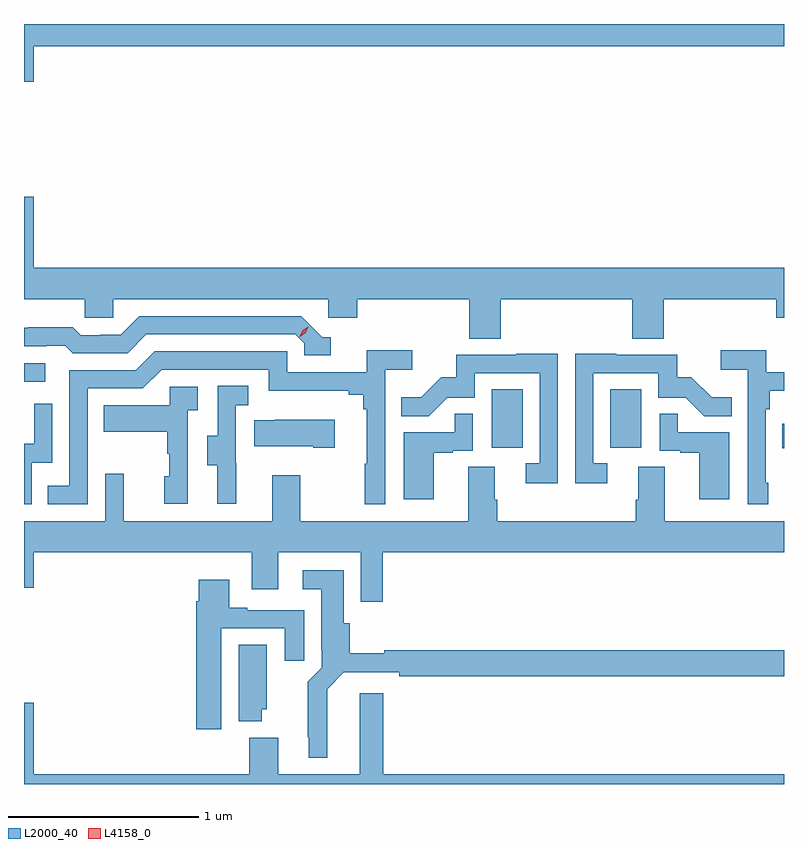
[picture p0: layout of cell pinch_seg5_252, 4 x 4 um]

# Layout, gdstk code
import gdstk
lib = gdstk.Library(unit=1e-6, precision=1e-09)
def R(c, l, rs):  # rectangles x0, y0, x1, y1
    for r in rs: c.add(gdstk.rectangle(r[:2], r[2:], *l))
def P(c, l, *ps):  # polygons
    for p in ps: c.add(gdstk.Polygon(p, *l))
L2000_40 = (2000, 40)
L4158_0 = (4158, 0)

pinch_seg5_252 = lib.new_cell('pinch_seg5_252')
R(pinch_seg5_252, L2000_40, [(936.343,902.596,936.353,902.725), (934.814,902.598,934.978,902.905), (935.438,902.598,935.602,902.905), (932.353,902.946,932.464,903.042)])
P(pinch_seg5_252, L2000_40, [(932.404,904.712),(936.353,904.712),(936.353,904.828),(932.353,904.828),(932.353,904.524),(932.404,904.524)],
  [(934.862,903.38),(935.555,903.38),(935.555,903.172),(935.72,903.172),(935.72,903.38),(936.311,903.38),(936.311,903.282),(936.353,903.282),(936.353,903.544),(932.404,903.544),(932.404,903.919),(932.353,903.919),(932.353,903.38),(932.673,903.38),(932.673,903.282),(932.823,903.282),(932.823,903.38),(933.954,903.38),(933.954,903.282),(934.106,903.282),(934.106,903.38),(934.697,903.38),(934.697,903.172),(934.862,903.172)],
  [(933.967,903.18),(933.924,903.18),(933.813,903.291),(932.96,903.291),(932.861,903.192),(932.754,903.192),(932.754,903.189),(932.651,903.189),(932.609,903.232),(932.376,903.232),(932.376,903.229),(932.353,903.229),(932.353,903.132),(932.471,903.132),(932.471,903.135),(932.57,903.135),(932.609,903.096),(932.898,903.096),(932.997,903.195),(933.78,903.195),(933.828,903.147),(933.828,903.084),(933.967,903.084)],
  [(932.688,902.91),(932.979,902.91),(933.078,903.009),(933.642,903.009),(933.642,902.897),(934.061,902.897),(934.061,902.878),(934.138,902.878),(934.138,902.801),(934.157,902.801),(934.157,902.513),(934.146,902.513),(934.146,902.301),(934.254,902.301),(934.254,903.008),(934.396,903.008),(934.396,903.11),(934.157,903.11),(934.157,902.994),(933.738,902.994),(933.738,903.105),(933.041,903.105),(932.942,903.006),(932.592,903.006),(932.592,902.397),(932.479,902.397),(932.479,902.301),(932.688,902.301)],
  [(936.271,902.413),(936.258,902.413),(936.258,902.801),(936.278,902.801),(936.278,902.897),(936.353,902.897),(936.353,902.994),(936.26,902.994),(936.26,903.11),(936.021,903.11),(936.021,903.008),(936.162,903.008),(936.162,902.301),(936.271,902.301)],
  [(935.422,902.517),(935.349,902.517),(935.349,902.991),(935.691,902.991),(935.691,902.862),(935.835,902.862),(935.933,902.764),(936.077,902.764),(936.077,902.863),(935.973,902.863),(935.866,902.97),(935.79,902.97),(935.79,903.087),(935.471,903.087),(935.471,903.092),(935.253,903.092),(935.253,902.412),(935.422,902.412)],
  [(935.163,903.092),(934.945,903.092),(934.945,903.087),(934.627,903.087),(934.627,902.97),(934.55,902.97),(934.443,902.863),(934.339,902.863),(934.339,902.764),(934.483,902.764),(934.581,902.862),(934.725,902.862),(934.725,902.991),(935.067,902.991),(935.067,902.517),(934.995,902.517),(934.995,902.412),(935.163,902.412)],
  [(933.47,902.517),(933.468,902.517),(933.468,902.821),(933.532,902.821),(933.532,902.924),(933.372,902.924),(933.372,902.661),(933.317,902.661),(933.317,902.506),(933.371,902.506),(933.371,902.304),(933.47,902.304)],
  [(933.216,902.795),(933.268,902.795),(933.268,902.919),(933.12,902.919),(933.12,902.821),(932.773,902.821),(932.773,902.681),(933.108,902.681),(933.108,902.567),(933.118,902.567),(933.118,902.448),(933.092,902.448),(933.092,902.304),(933.216,902.304)],
  [(932.394,902.52),(932.502,902.52),(932.502,902.83),(932.406,902.83),(932.406,902.618),(932.353,902.618),(932.353,902.301),(932.394,902.301)],
  [(934.51,902.571),(934.61,902.571),(934.61,902.583),(934.716,902.583),(934.716,902.777),(934.621,902.777),(934.621,902.679),(934.352,902.679),(934.352,902.328),(934.51,902.328)],
  [(936.064,902.679),(935.795,902.679),(935.795,902.777),(935.7,902.777),(935.7,902.583),(935.807,902.583),(935.807,902.571),(935.906,902.571),(935.906,902.328),(936.064,902.328)],
  [(933.988,902.746),(933.673,902.746),(933.673,902.743),(933.565,902.743),(933.565,902.606),(933.875,902.606),(933.875,902.599),(933.988,902.599)],
  [(934.241,902.048),(936.353,902.048),(936.353,902.212),(935.725,902.212),(935.725,902.498),(935.585,902.498),(935.585,902.324),(935.573,902.324),(935.573,902.212),(934.844,902.212),(934.844,902.324),(934.831,902.324),(934.831,902.498),(934.691,902.498),(934.691,902.212),(933.807,902.212),(933.807,902.452),(933.659,902.452),(933.659,902.212),(932.879,902.212),(932.879,902.461),(932.781,902.461),(932.781,902.212),(932.353,902.212),(932.353,901.86),(932.404,901.86),(932.404,902.048),(933.551,902.048),(933.551,901.854),(933.691,901.854),(933.691,902.048),(934.125,902.048),(934.125,901.788),(934.241,901.788)],
  [(933.949,901.328),(934.036,901.416),(934.327,901.416),(934.327,901.396),(936.353,901.396),(936.353,901.532),(934.25,901.532),(934.25,901.517),(934.067,901.517),(934.067,901.674),(934.036,901.674),(934.036,901.954),(933.819,901.954),(933.819,901.853),(933.917,901.853),(933.917,901.534),(933.921,901.534),(933.921,901.44),(933.847,901.366),(933.847,901.075),(933.851,901.075),(933.851,900.965),(933.949,900.965)],
  [(933.391,901.647),(933.725,901.647),(933.725,901.476),(933.829,901.476),(933.829,901.743),(933.529,901.743),(933.529,901.756),(933.433,901.756),(933.433,901.903),(933.272,901.903),(933.272,901.79),(933.26,901.79),(933.26,901.116),(933.391,901.116)],
  [(933.604,901.221),(933.631,901.221),(933.631,901.562),(933.482,901.562),(933.482,901.157),(933.604,901.157)],
  [(936.353,900.88),(934.244,900.88),(934.244,901.306),(934.121,901.306),(934.121,900.88),(933.691,900.88),(933.691,901.072),(933.539,901.072),(933.539,900.88),(932.404,900.88),(932.404,901.255),(932.353,901.255),(932.353,900.828),(936.353,900.828)])
P(pinch_seg5_252, L4158_0, [(933.803,903.182),(933.803,903.183),(933.819,903.215),(933.85,903.234),(933.85,903.234),(933.85,903.234),(933.834,903.201),(933.803,903.182)])

lib.write_gds('pinch_seg5_252.gds')
